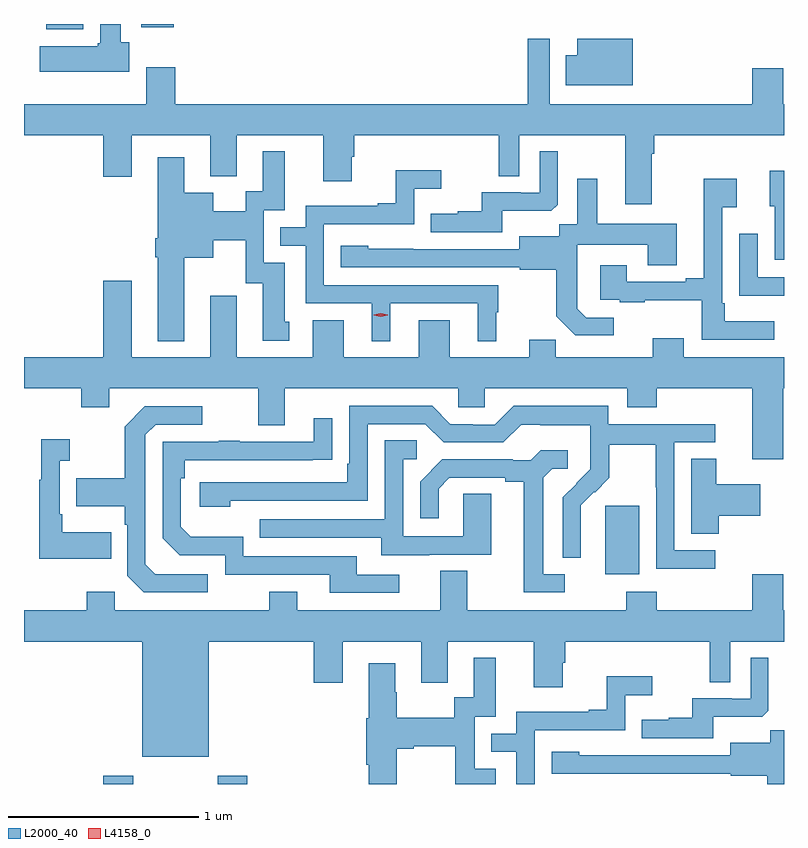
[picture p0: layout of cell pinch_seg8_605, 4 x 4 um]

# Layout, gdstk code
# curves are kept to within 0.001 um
import gdstk
lib = gdstk.Library(unit=1e-6, precision=1e-09)
def R(c, l, rs):  # rectangles x0, y0, x1, y1
    for r in rs: c.add(gdstk.rectangle(r[:2], r[2:], *l))
def P(c, l, *ps):  # polygons
    for p in ps: c.add(gdstk.Polygon(p, *l))
L2000_40 = (2000, 40)
L4158_0 = (4158, 0)

pinch_seg8_605 = lib.new_cell('pinch_seg8_605')
R(pinch_seg8_605, L2000_40, [(221.531,1087.778,221.691,1087.822), (222.136,1087.778,222.291,1087.822), (224.174,1088.882,224.353,1089.243), (221.231,1091.75,221.428,1091.778), (221.732,1091.76,221.903,1091.778)])
P(pinch_seg8_605, L2000_40, [(221.668,1091.682),(221.623,1091.682),(221.623,1091.778),(221.516,1091.778),(221.516,1091.676),(221.503,1091.676),(221.503,1091.662),(221.199,1091.662),(221.199,1091.528),(221.668,1091.528)],
  [(224.32,1091.701),(224.027,1091.701),(224.027,1091.614),(223.966,1091.614),(223.966,1091.456),(224.32,1091.456)],
  [(225.115,1091.356),(225.112,1091.356),(225.112,1091.545),(224.948,1091.545),(224.948,1091.356),(223.881,1091.356),(223.881,1091.701),(223.765,1091.701),(223.765,1091.356),(221.912,1091.356),(221.912,1091.551),(221.759,1091.551),(221.759,1091.356),(221.115,1091.356),(221.115,1091.192),(221.531,1091.192),(221.531,1090.974),(221.683,1090.974),(221.683,1091.192),(222.095,1091.192),(222.095,1090.976),(222.235,1090.976),(222.235,1091.192),(222.689,1091.192),(222.689,1090.95),(222.841,1090.95),(222.841,1091.079),(222.854,1091.079),(222.854,1091.192),(223.614,1091.192),(223.614,1090.978),(223.722,1090.978),(223.722,1091.192),(224.279,1091.192),(224.279,1090.83),(224.419,1090.83),(224.419,1091.096),(224.432,1091.096),(224.432,1091.192),(225.115,1091.192)],
  [(221.959,1090.547),(222.112,1090.547),(222.112,1090.64),(222.282,1090.64),(222.282,1090.413),(222.371,1090.413),(222.371,1090.11),(222.511,1090.11),(222.511,1090.212),(222.487,1090.212),(222.487,1090.521),(222.378,1090.521),(222.378,1090.797),(222.487,1090.797),(222.487,1091.107),(222.371,1091.107),(222.371,1090.898),(222.281,1090.898),(222.281,1090.792),(222.112,1090.792),(222.112,1090.891),(221.959,1090.891),(221.959,1091.077),(221.819,1091.077),(221.819,1090.651),(221.807,1090.651),(221.807,1090.551),(221.819,1090.551),(221.819,1090.109),(221.959,1090.109)],
  [(223.633,1090.796),(223.891,1090.796),(223.923,1090.827),(223.923,1091.107),(223.83,1091.107),(223.83,1090.89),(223.73,1090.89),(223.73,1090.893),(223.523,1090.893),(223.523,1090.792),(223.399,1090.792),(223.399,1090.78),(223.255,1090.78),(223.255,1090.683),(223.633,1090.683)],
  [(223.042,1090.308),(223.502,1090.308),(223.502,1090.109),(223.6,1090.109),(223.6,1090.26),(223.612,1090.26),(223.612,1090.404),(222.693,1090.404),(222.693,1090.725),(223.17,1090.725),(223.17,1090.91),(223.312,1090.91),(223.312,1091.009),(223.072,1091.009),(223.072,1090.834),(222.977,1090.834),(222.977,1090.821),(222.597,1090.821),(222.597,1090.707),(222.463,1090.707),(222.463,1090.611),(222.597,1090.611),(222.597,1090.308),(222.944,1090.308),(222.944,1090.109),(223.042,1090.109)],
  [(225.115,1091.006),(225.041,1091.006),(225.041,1090.818),(225.066,1090.818),(225.066,1090.536),(225.115,1090.536)],
  [(224.218,1090.233),(224.073,1090.233),(224.026,1090.28),(224.026,1090.375),(224.028,1090.375),(224.028,1090.616),(224.399,1090.616),(224.399,1090.507),(224.551,1090.507),(224.551,1090.726),(224.131,1090.726),(224.131,1090.963),(224.027,1090.963),(224.027,1090.724),(223.932,1090.724),(223.932,1090.66),(223.721,1090.66),(223.721,1090.593),(222.927,1090.594),(222.927,1090.612),(222.783,1090.612),(222.783,1090.497),(223.725,1090.497),(223.725,1090.485),(223.917,1090.485),(223.917,1090.239),(224.017,1090.139),(224.218,1090.139)],
  [(225.064,1090.213),(224.803,1090.213),(224.803,1090.309),(224.79,1090.309),(224.79,1090.814),(224.866,1090.814),(224.866,1090.963),(224.693,1090.963),(224.693,1090.441),(224.597,1090.441),(224.597,1090.422),(224.287,1090.422),(224.287,1090.507),(224.147,1090.507),(224.147,1090.326),(224.251,1090.326),(224.251,1090.314),(224.383,1090.314),(224.383,1090.325),(224.682,1090.325),(224.682,1090.116),(225.064,1090.116)],
  [(225.115,1090.446),(224.976,1090.446),(224.976,1090.675),(224.88,1090.675),(224.88,1090.349),(225.115,1090.349)],
  [(225.112,1089.86),(225.115,1089.86),(225.115,1090.024),(224.587,1090.024),(224.587,1090.123),(224.423,1090.123),(224.423,1090.024),(223.913,1090.024),(223.913,1090.115),(223.775,1090.115),(223.775,1090.024),(223.357,1090.024),(223.357,1090.219),(223.193,1090.219),(223.193,1090.024),(222.799,1090.024),(222.799,1090.219),(222.635,1090.219),(222.635,1090.024),(222.235,1090.024),(222.235,1090.348),(222.095,1090.348),(222.095,1090.024),(221.683,1090.024),(221.683,1090.426),(221.531,1090.426),(221.531,1090.024),(221.115,1090.024),(221.115,1089.86),(221.416,1089.86),(221.416,1089.761),(221.563,1089.761),(221.563,1089.86),(222.347,1089.86),(222.347,1089.666),(222.487,1089.666),(222.487,1089.86),(223.401,1089.86),(223.401,1089.762),(223.539,1089.762),(223.539,1089.86),(224.291,1089.86),(224.291,1089.761),(224.444,1089.761),(224.444,1089.86),(224.948,1089.86),(224.948,1089.486),(225.112,1089.486)],
  [(224.752,1089.009),(224.538,1089.009),(224.538,1089.576),(224.752,1089.576),(224.752,1089.672),(224.19,1089.672),(224.19,1089.769),(223.693,1089.769),(223.593,1089.669),(223.478,1089.669),(223.478,1089.672),(223.359,1089.672),(223.263,1089.768),(222.828,1089.768),(222.828,1089.463),(222.815,1089.463),(222.815,1089.366),(222.039,1089.366),(222.039,1089.236),(222.2,1089.236),(222.2,1089.27),(222.924,1089.27),(222.924,1089.672),(223.227,1089.672),(223.323,1089.576),(223.638,1089.576),(223.731,1089.669),(223.831,1089.669),(223.831,1089.665),(224.094,1089.665),(224.094,1089.531),(224.096,1089.531),(224.096,1089.434),(223.95,1089.286),(223.95,1088.968),(224.046,1088.968),(224.045,1089.245),(224.115,1089.315),(224.118,1089.312),(224.195,1089.389),(224.195,1089.564),(224.44,1089.564),(224.44,1089.34),(224.442,1089.34),(224.442,1088.911),(224.752,1088.911)],
  [(222.082,1088.883),(221.805,1088.883),(221.754,1088.934),(221.754,1089.615),(221.808,1089.669),(222.052,1089.669),(222.052,1089.765),(221.751,1089.765),(221.646,1089.659),(221.646,1089.387),(221.389,1089.387),(221.389,1089.239),(221.646,1089.239),(221.646,1089.143),(221.658,1089.143),(221.658,1088.874),(221.745,1088.787),(222.082,1088.787)],
  [(223.09,1088.88),(222.865,1088.88),(222.865,1088.976),(222.27,1088.976),(222.27,1089.079),(221.993,1089.079),(221.94,1089.132),(221.94,1089.386),(221.96,1089.386),(221.96,1089.483),(222.737,1089.484),(222.737,1089.703),(222.641,1089.703),(222.641,1089.579),(222.251,1089.579),(222.251,1089.584),(222.139,1089.584),(222.139,1089.579),(221.844,1089.579),(221.844,1089.072),(221.934,1088.982),(222.174,1088.982),(222.174,1088.88),(222.725,1088.88),(222.725,1088.784),(223.09,1088.784)],
  [(221.573,1089.103),(221.317,1089.103),(221.317,1089.199),(221.304,1089.199),(221.304,1089.479),(221.356,1089.479),(221.356,1089.592),(221.207,1089.592),(221.207,1089.379),(221.196,1089.379),(221.196,1088.963),(221.573,1088.963)],
  [(223.249,1088.985),(223.573,1088.985),(223.573,1089.305),(223.428,1089.305),(223.428,1089.081),(223.11,1089.081),(223.11,1089.486),(223.183,1089.486),(223.183,1089.587),(223.014,1089.587),(223.014,1089.171),(222.355,1089.171),(222.355,1089.075),(222.995,1089.075),(222.995,1088.981),(223.249,1088.981)],
  [(223.96,1088.883),(223.849,1088.883),(223.849,1089.391),(223.896,1089.438),(223.978,1089.438),(223.978,1089.535),(223.834,1089.535),(223.782,1089.483),(223.688,1089.483),(223.688,1089.486),(223.316,1089.486),(223.2,1089.37),(223.2,1089.177),(223.297,1089.177),(223.297,1089.333),(223.354,1089.39),(223.649,1089.39),(223.649,1089.368),(223.745,1089.368),(223.745,1088.787),(223.96,1088.787)],
  [(224.771,1089.19),(224.989,1089.19),(224.989,1089.355),(224.758,1089.355),(224.758,1089.491),(224.627,1089.491),(224.627,1089.094),(224.771,1089.094)],
  [(222.088,1088.528),(222.641,1088.528),(222.641,1088.31),(222.793,1088.31),(222.793,1088.528),(223.205,1088.528),(223.205,1088.31),(223.345,1088.31),(223.345,1088.528),(223.799,1088.528),(223.799,1088.286),(223.951,1088.286),(223.951,1088.415),(223.964,1088.415),(223.964,1088.528),(224.724,1088.528),(224.724,1088.314),(224.832,1088.314),(224.832,1088.528),(225.115,1088.528),(225.115,1088.692),(225.112,1088.692),(225.112,1088.881),(224.948,1088.881),(224.948,1088.692),(224.444,1088.692),(224.444,1088.791),(224.284,1088.791),(224.284,1088.692),(223.447,1088.692),(223.447,1088.9),(223.307,1088.9),(223.307,1088.692),(222.553,1088.692),(222.553,1088.791),(222.406,1088.791),(222.406,1088.692),(221.592,1088.692),(221.592,1088.791),(221.446,1088.791),(221.446,1088.692),(221.115,1088.692),(221.115,1088.528),(221.738,1088.528),(221.738,1087.922),(222.088,1087.922)],
  [(223.077,1087.964),(223.165,1087.964),(223.165,1087.976),(223.385,1087.976),(223.385,1087.778),(223.597,1087.778),(223.597,1087.857),(223.488,1087.857),(223.488,1088.133),(223.597,1088.133),(223.597,1088.443),(223.481,1088.443),(223.481,1088.234),(223.38,1088.234),(223.38,1088.128),(223.077,1088.128),(223.077,1088.262),(223.069,1088.262),(223.069,1088.413),(222.929,1088.413),(222.929,1088.124),(222.917,1088.124),(222.917,1087.88),(222.929,1087.88),(222.929,1087.778),(223.077,1087.778)],
  [(224.743,1088.132),(225.001,1088.132),(225.033,1088.163),(225.033,1088.443),(224.94,1088.443),(224.94,1088.226),(224.84,1088.226),(224.84,1088.229),(224.633,1088.229),(224.633,1088.128),(224.509,1088.128),(224.509,1088.116),(224.365,1088.116),(224.365,1088.019),(224.743,1088.019)],
  [(223.803,1088.061),(224.28,1088.061),(224.28,1088.246),(224.422,1088.246),(224.422,1088.345),(224.182,1088.345),(224.182,1088.17),(224.087,1088.17),(224.087,1088.157),(223.707,1088.157),(223.707,1088.043),(223.573,1088.043),(223.573,1087.947),(223.707,1087.947),(223.707,1087.778),(223.803,1087.778)],
  [(225.115,1088.06),(225.042,1088.06),(225.042,1087.996),(224.831,1087.996),(224.831,1087.929),(224.273,1087.929),(224.273,1087.93),(224.037,1087.93),(224.037,1087.948),(223.893,1087.948),(223.893,1087.833),(224.835,1087.833),(224.835,1087.821),(225.027,1087.821),(225.027,1087.778),(225.115,1087.778)])
P(pinch_seg8_605, L4158_0, [(222.993,1090.236),(222.957,1090.246),(222.957,1090.246),(222.957,1090.247),(222.993,1090.256),(223.029,1090.247),(223.029,1090.246),(223.029,1090.246)])

lib.write_gds('pinch_seg8_605.gds')
